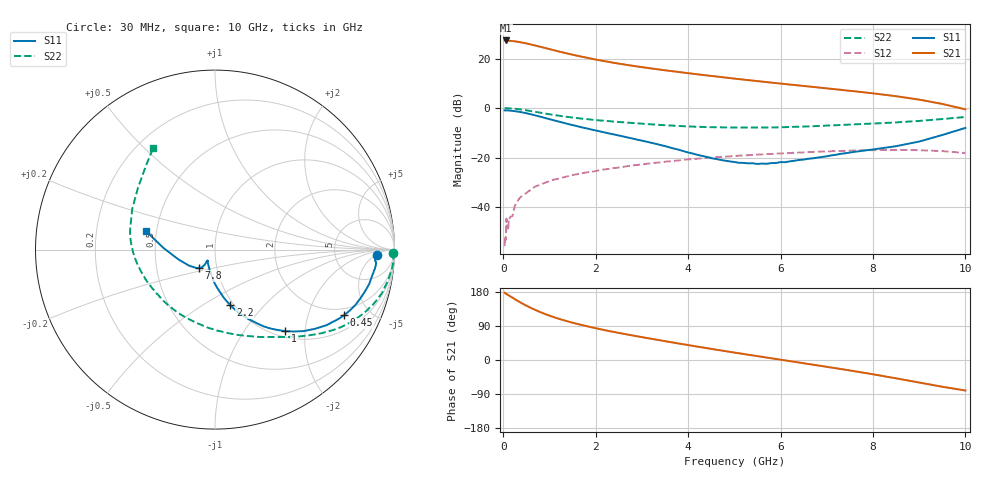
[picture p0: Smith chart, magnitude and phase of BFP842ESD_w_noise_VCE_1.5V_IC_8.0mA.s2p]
! Infineon Technologies  Discrete & RF Semiconductors
! BFP842ESD
! VCE =  1.5 V,  IC =  8.0 mA
! Common Emitter S-Parameters:  May 2012
# GHz  S  MA  R  50
!  f  S11  S21  S12  S22
! GHz  MAG  ANG  MAG  ANG  MAG  ANG  MAG  ANG
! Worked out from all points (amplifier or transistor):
!   99 points, 30 MHz to 10 GHz, reference 50 ohm
!   highest |S21| = 27.4 dB at 60 MHz (marker M1)
!   |S21| within 3 dB of that: start of sweep to 894 MHz
!   unconditionally stable (mu >= 1): 2.954 GHz to end of sweep
!   at 350 MHz: K = 0.19, MSG = 31.7 dB, |S12| = -36.5 dB
!   at 3.5 GHz: K = 1.05, MAG = 17.1 dB, |S12| = -21.7 dB
!   at 10 GHz: K = 2.02, MAG = 3.1 dB, |S12| = -18.2 dB
!   lowest NFmin = 0.54 dB at 450 MHz
!   S11 on the Smith chart (normalised r, x): 30 MHz: 18, -5; 450 MHz: 1.64, -3.44; 1 GHz: 1.11, -1.57; 2.2 GHz: 0.96, -0.66; 7.8 GHz: 0.82, -0.17; 10 GHz: 0.44, +0.11
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0.03  0.9015 -1.8  23.28 177.5  0.0016 129.8  0.9938 -1.0
0.05  0.8931 -3.2  23.11 175.5  0.0021 19.4  0.992 -2.3
0.06  0.8945 -4.1  23.47 174.9  0.0028 -2.2  0.995 -2.9
0.07  0.9007 -4.5  23.22 174.3  0.0058 86.8  0.9958 -3.3
0.09  0.8999 -5.8  22.94 173.0  0.0039 90.0  0.9935 -4.2
0.11  0.8973 -6.9  23.32 171.1  0.0034 100.0  0.9917 -5.3
0.25  0.8674 -15.6  22.59 160.7  0.0104 89.0  0.9696 -12.3
0.35  0.8406 -21.6  21.82 153.5  0.0149 79.3  0.9468 -16.9
0.45  0.807 -27.0  20.87 146.7  0.0179 73.6  0.9174 -21.0
0.6  0.75 -34.2  19.44 137.4  0.0226 68.7  0.8711 -26.7
0.7  0.7104 -38.4  18.47 131.9  0.0261 65.5  0.8402 -30.0
1  0.5985 -49.3  15.69 117.1  0.0331 60.1  0.7516 -38.4
1.3  0.5056 -57.7  13.36 105.3  0.0397 55.3  0.6812 -45.1
1.7  0.4078 -66.2  11 92.3  0.0477 50.1  0.6122 -52.6
2.2  0.3212 -74.7  8.93 78.7  0.0575 46.1  0.5531 -61.7
2.7  0.2532 -81.5  7.446 66.9  0.067 41.0  0.5072 -71.0
3.4  0.1791 -91.9  6.013 51.9  0.0795 33.3  0.4563 -86.0
5.1  0.0782 -121.1  3.873 17.8  0.1087 12.8  0.4041 -128.1
6.7  0.0963 -124.3  2.69 -12.3  0.1295 -8.3  0.4304 -163.9
7.8  0.1378 -131.8  2.092 -33.6  0.1399 -24.7  0.4776 170.9
8.5  0.1695 -148.0  1.743 -48.4  0.1427 -37.2  0.5138 153.8
10  0.3975 165.1  0.945 -80.5  0.1231 -67.2  0.6614 121.5
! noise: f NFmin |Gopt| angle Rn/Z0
0.45  0.54  0.21  2  0.1
0.9  0.55  0.22  7  0.1
1.5  0.57  0.23  18  0.09
1.9  0.58  0.22  25  0.09
2.4  0.59  0.18  33  0.08
3.5  0.67  0.11  86  0.08
4  0.7  0.1  115  0.08
5  0.76  0.11  136  0.08
5.5  0.88  0.11  162  0.07
6  0.99  0.11  178  0.06
